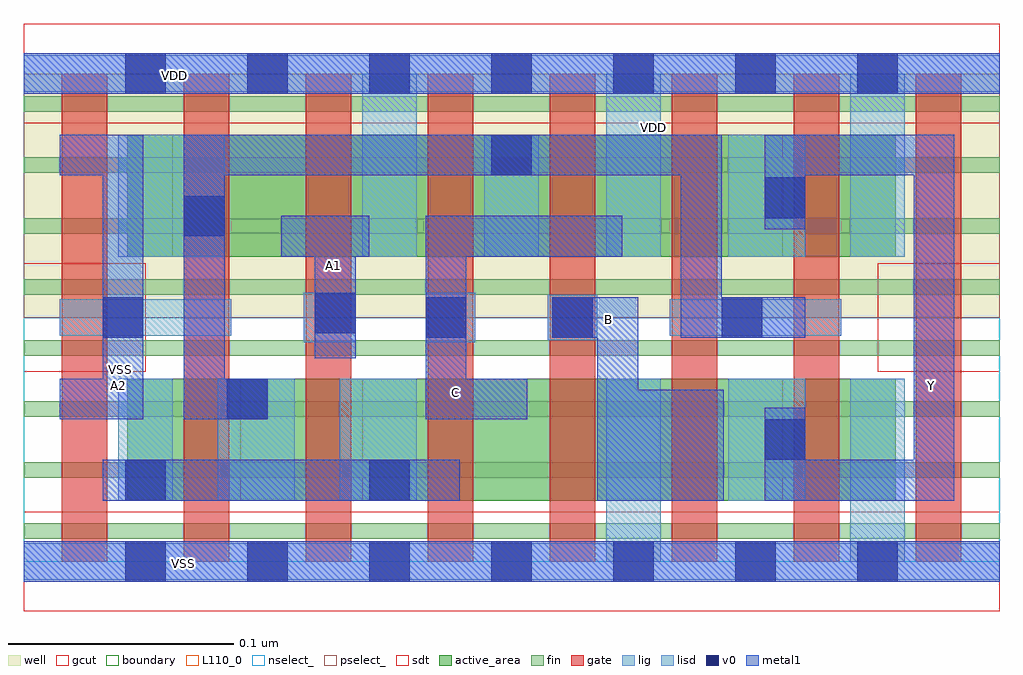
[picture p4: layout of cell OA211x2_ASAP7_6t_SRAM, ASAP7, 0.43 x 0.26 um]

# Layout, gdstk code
import gdstk
lib = gdstk.Library(unit=1e-6, precision=2.5e-10)
def R(c, l, rs):  # rectangles x0, y0, x1, y1
    for r in rs: c.add(gdstk.rectangle(r[:2], r[2:], *l))
def A(c, l, x, y, w, h, nx, ny, dx, dy):  # array of equal rectangles
    R(c, l, [(x+i*dx, y+j*dy, x+i*dx+w, y+j*dy+h) for i in range(nx) for j in range(ny)])
def P(c, l, *ps):  # polygons
    for p in ps: c.add(gdstk.Polygon(p, *l))
well = (1, 0)
fin = (2, 0)
gate = (7, 0)
gcut = (10, 0)
active_area = (11, 0)
nselect_ = (12, 0)
pselect_ = (13, 0)
lig = (16, 0)
lisd = (17, 0)
v0 = (18, 0)
metal1 = (19, 0)
sdt = (88, 0)
boundary = (100, 0)
L110_0 = (110, 0)

oa211x2_asap7_6t_sram = lib.new_cell('OA211x2_ASAP7_6t_SRAM')
R(oa211x2_asap7_6t_sram, well, [(0,0.108,0.432,0.216)])
A(oa211x2_asap7_6t_sram, fin, 0, 0.01, 0.432, 0.007, 1, 7, 0, 0.027)
R(oa211x2_asap7_6t_sram, fin, [(0,0.172,0.432,0.179), (0,0.199,0.432,0.206), (0,0.199,0.432,0.206)])
A(oa211x2_asap7_6t_sram, gate, 0.017, 0, 0.02, 0.216, 8, 1, 0.054, 0)
R(oa211x2_asap7_6t_sram, gcut, [(0,-0.022,0.432,0.022), (0,0.084,0.054,0.132), (0.378,0.084,0.432,0.132), (0,0.194,0.432,0.238)])
R(oa211x2_asap7_6t_sram, active_area, [(0.046,0.027,0.278,0.081), (0.262,0.027,0.386,0.081), (0.046,0.135,0.278,0.189), (0.262,0.135,0.386,0.189)])
R(oa211x2_asap7_6t_sram, nselect_, [(0,0,0.432,0.108)])
R(oa211x2_asap7_6t_sram, pselect_, [(0,0.108,0.432,0.216)])
R(oa211x2_asap7_6t_sram, lig, [(0,-0.008,0.432,0.008), (0.124,0.097,0.147,0.119), (0.178,0.097,0.2,0.119), (0.232,0.098,0.254,0.118), (0.016,0.1,0.092,0.116), (0.286,0.1,0.362,0.116), (0,0.208,0.432,0.224)])
A(oa211x2_asap7_6t_sram, lisd, 0.15, 0.135, 0.024, 0.081, 3, 1, 0.108, 0)
R(oa211x2_asap7_6t_sram, lisd, [(0.258,0,0.282,0.081), (0.366,0,0.39,0.081), (0.042,0.027,0.066,0.081), (0.086,0.027,0.12,0.081), (0.14,0.027,0.174,0.081), (0.312,0.027,0.346,0.081), (0.042,0.135,0.089,0.189), (0.204,0.135,0.228,0.189), (0.312,0.135,0.346,0.189)])
A(oa211x2_asap7_6t_sram, v0, 0.045, -0.009, 0.018, 0.018, 7, 2, 0.054, 0.216)
R(oa211x2_asap7_6t_sram, v0, [(0.045,0.027,0.063,0.045), (0.153,0.027,0.171,0.045), (0.328,0.045,0.346,0.063), (0.09,0.063,0.108,0.081), (0.035,0.099,0.053,0.117), (0.178,0.099,0.196,0.117), (0.234,0.099,0.252,0.117), (0.309,0.099,0.327,0.117), (0.129,0.101,0.147,0.119), (0.071,0.144,0.089,0.162), (0.328,0.152,0.346,0.17), (0.207,0.171,0.225,0.189)])
R(oa211x2_asap7_6t_sram, metal1, [(0,-0.009,0.432,0.009), (0.035,0.027,0.193,0.045), (0,0.207,0.432,0.225)])
P(oa211x2_asap7_6t_sram, metal1, [(0.053,0.063),(0.016,0.063),(0.016,0.081),(0.035,0.081),(0.035,0.171),(0.016,0.171),(0.016,0.189),(0.053,0.189)],
  [(0.153,0.135),(0.147,0.135),(0.147,0.09),(0.129,0.09),(0.129,0.135),(0.114,0.135),(0.114,0.153),(0.153,0.153)],
  [(0.265,0.135),(0.196,0.135),(0.196,0.081),(0.223,0.081),(0.223,0.063),(0.178,0.063),(0.178,0.153),(0.265,0.153)],
  [(0.31,0.027),(0.254,0.027),(0.254,0.099),(0.234,0.099),(0.234,0.117),(0.272,0.117),(0.272,0.076),(0.31,0.076)],
  [(0.346,0.099),(0.291,0.099),(0.291,0.171),(0.089,0.171),(0.089,0.081),(0.108,0.081),(0.108,0.063),(0.071,0.063),(0.071,0.189),(0.309,0.189),(0.309,0.117),(0.346,0.117)],
  [(0.412,0.027),(0.328,0.027),(0.328,0.068),(0.346,0.068),(0.346,0.045),(0.394,0.045),(0.394,0.171),(0.346,0.171),(0.346,0.147),(0.328,0.147),(0.328,0.189),(0.412,0.189)])
A(oa211x2_asap7_6t_sram, sdt, 0.042, 0.027, 0.024, 0.054, 3, 1, 0.054, 0)
A(oa211x2_asap7_6t_sram, sdt, 0.15, 0.135, 0.024, 0.054, 3, 1, 0.054, 0)
R(oa211x2_asap7_6t_sram, sdt, [(0.258,0.027,0.282,0.081), (0.258,0.027,0.282,0.081), (0.312,0.027,0.336,0.081), (0.312,0.027,0.336,0.081), (0.366,0.027,0.39,0.081), (0.366,0.027,0.39,0.081), (0.042,0.135,0.066,0.189), (0.258,0.135,0.282,0.189), (0.312,0.135,0.336,0.189), (0.312,0.135,0.336,0.189), (0.366,0.135,0.39,0.189), (0.366,0.135,0.39,0.189)])
R(oa211x2_asap7_6t_sram, boundary, [(0,0,0.432,0.216)])
R(oa211x2_asap7_6t_sram, L110_0, [(0,0,0.432,0.216)])
oa211x2_asap7_6t_sram.add(gdstk.Label('VSS', (0.043,0.085), layer=3, texttype=251))
oa211x2_asap7_6t_sram.add(gdstk.Label('VDD', (0.279,0.192), layer=1, texttype=251))
oa211x2_asap7_6t_sram.add(gdstk.Label('B', (0.259,0.107), layer=19, texttype=251))
oa211x2_asap7_6t_sram.add(gdstk.Label('VDD', (0.067,0.215), layer=19, texttype=251))
oa211x2_asap7_6t_sram.add(gdstk.Label('VSS', (0.071,-0.001), layer=19, texttype=251))
oa211x2_asap7_6t_sram.add(gdstk.Label('A1', (0.137,0.131), layer=19, texttype=251))
oa211x2_asap7_6t_sram.add(gdstk.Label('C', (0.191,0.075), layer=19, texttype=251))
oa211x2_asap7_6t_sram.add(gdstk.Label('Y', (0.402,0.078), layer=19, texttype=251))
oa211x2_asap7_6t_sram.add(gdstk.Label('A2', (0.042,0.078), layer=19, texttype=251))

lib.write_gds('OA211x2_ASAP7_6t_SRAM.gds')
